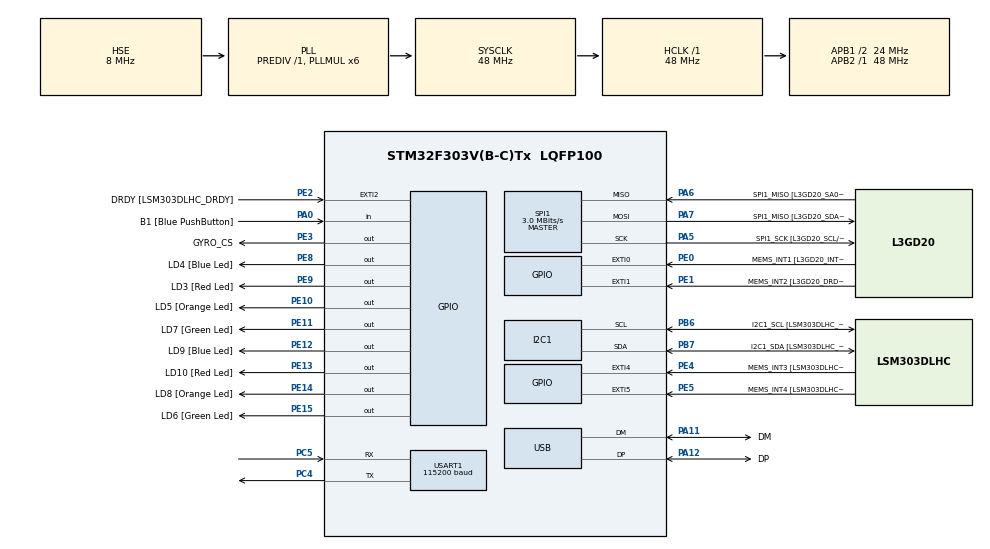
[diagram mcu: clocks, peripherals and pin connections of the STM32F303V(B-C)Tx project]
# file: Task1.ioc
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I2C1.Timing=0x00201D2B
I2C1.Timing-I2C=0x2000090E
Mcu.Family=STM32F3
Mcu.Name=STM32F303V(B-C)Tx
Mcu.Package=LQFP100
NVIC.PriorityGroup=NVIC_PRIORITYGROUP_0
NVIC.TIM2_IRQn=true\:0\:0\:false\:false\:true\:true\:true\:true
NVIC.TIM4_IRQn=true\:0\:0\:false\:false\:true\:true\:true\:true
NVIC.USB_LP_CAN_RX0_IRQn=true\:0\:0\:false\:false\:true\:false\:true\:true
PA0.GPIO_Label=B1 [Blue PushButton]
PA0.Signal=GPIO_Input
PA11.GPIO_Label=DM
PA11.Mode=Device
PA11.Signal=USB_DM
PA12.GPIO_Label=DP
PA12.Mode=Device
PA12.Signal=USB_DP
PA13.GPIO_Label=SWDIO
PA13.Mode=Serial_Wire
PA13.Signal=SYS_JTMS-SWDIO
PA14.GPIO_Label=SWCLK
PA14.Mode=Serial_Wire
PA14.Signal=SYS_JTCK-SWCLK
PA5.GPIO_Label=SPI1_SCK [L3GD20_SCL/SPC]
PA5.Mode=Full_Duplex_Master
PA5.Signal=SPI1_SCK
PA6.GPIO_Label=SPI1_MISO [L3GD20_SA0/SDO]
PA6.Mode=Full_Duplex_Master
PA6.Signal=SPI1_MISO
PA7.GPIO_Label=SPI1_MISO [L3GD20_SDA/SDI/SDO]
PA7.Mode=Full_Duplex_Master
PA7.Signal=SPI1_MOSI
PB3.GPIO_Label=SWO
PB3.Signal=SYS_JTDO-TRACESWO
PB6.GPIO_Label=I2C1_SCL [LSM303DLHC_SCL]
PB6.GPIO_Pu=GPIO_PULLUP
PB6.Mode=I2C
PB6.Signal=I2C1_SCL
PB7.GPIO_Label=I2C1_SDA [LSM303DLHC_SDA]
PB7.GPIO_Pu=GPIO_PULLUP
PB7.Mode=I2C
PB7.Signal=I2C1_SDA
PC14-OSC32_IN.GPIO_Label=OSC32_IN
PC14-OSC32_IN.Signal=RCC_OSC32_IN
PC15-OSC32_OUT.GPIO_Label=OSC32_OUT
PC15-OSC32_OUT.Signal=RCC_OSC32_OUT
PC4.Mode=Asynchronous
PC4.Signal=USART1_TX
PC5.Mode=Asynchronous
PC5.Signal=USART1_RX
PE0.GPIO_Label=MEMS_INT1 [L3GD20_INT1]
PE0.GPIO_ModeDefaultEXTI=GPIO_MODE_EVT_RISING
PE0.Signal=GPXTI0
PE1.GPIO_Label=MEMS_INT2 [L3GD20_DRDY/INT2]
PE1.GPIO_ModeDefaultEXTI=GPIO_MODE_EVT_RISING
PE1.Signal=GPXTI1
PE10.GPIO_Label=LD5 [Orange Led]
PE10.Signal=GPIO_Output
PE11.GPIO_Label=LD7 [Green Led]
PE11.Signal=GPIO_Output
PE12.GPIO_Label=LD9 [Blue Led]
PE12.Signal=GPIO_Output
PE13.GPIO_Label=LD10 [Red Led]
PE13.Signal=GPIO_Output
PE14.GPIO_Label=LD8 [Orange Led]
PE14.Signal=GPIO_Output
PE15.GPIO_Label=LD6 [Green Led]
PE15.Signal=GPIO_Output
PE2.GPIO_Label=DRDY [LSM303DLHC_DRDY]
PE2.GPIO_ModeDefaultEXTI=GPIO_MODE_EVT_RISING
PE2.Signal=GPXTI2
PE3.GPIO_Label=GYRO_CS
PE3.Signal=GPIO_Output
PE4.GPIO_Label=MEMS_INT3 [LSM303DLHC_INT1]
PE4.GPIO_ModeDefaultEXTI=GPIO_MODE_EVT_RISING
PE4.Signal=GPXTI4
PE5.GPIO_Label=MEMS_INT4 [LSM303DLHC_INT2]
PE5.GPIO_ModeDefaultEXTI=GPIO_MODE_EVT_RISING
PE5.Signal=GPXTI5
PE8.GPIO_Label=LD4 [Blue Led]
PE8.Signal=GPIO_Output
PE9.GPIO_Label=LD3 [Red Led]
PE9.Signal=GPIO_Output
PF0-OSC_IN.GPIO_Label=OSC_IN
PF0-OSC_IN.Mode=HSE-External-Clock-Source
PF0-OSC_IN.Signal=RCC_OSC_IN
PF1-OSC_OUT.GPIO_Label=OSC_OUT
PF1-OSC_OUT.Signal=RCC_OSC_OUT
ProjectManager.HeapSize=0x200
ProjectManager.StackSize=0x400
ProjectManager.TargetToolchain=CMake
RCC.AHBFreq_Value=48000000
RCC.APB1CLKDivider=RCC_HCLK_DIV2
RCC.APB1Freq_Value=24000000
RCC.APB1TimFreq_Value=48000000
RCC.APB2Freq_Value=48000000
RCC.APB2TimFreq_Value=48000000
RCC.CortexFreq_Value=48000000
RCC.HCLKFreq_Value=48000000
RCC.HSE_VALUE=8000000
RCC.HSI_VALUE=8000000
RCC.LSE_VALUE=32768
RCC.PLLMUL=RCC_PLL_MUL6
RCC.SYSCLKFreq_VALUE=48000000
RCC.SYSCLKSourceVirtual=RCC_SYSCLKSOURCE_PLLCLK
RCC.USBFreq_Value=48000000
SPI1.BaudRatePrescaler=SPI_BAUDRATEPRESCALER_16
SPI1.BaudRatePrescaler-Full_Duplex_Master=SPI_BAUDRATEPRESCALER_2
SPI1.CalculateBaudRate=3.0 MBits/s
SPI1.CalculateBaudRate-Full_Duplex_Master=24.0 MBits/s
SPI1.Direction=SPI_DIRECTION_2LINES
SPI1.Mode=SPI_MODE_MASTER
SPI1.Mode-Full_Duplex_Master=SPI_MODE_MASTER
SPI1.VirtualType=VM_MASTER
TIM2.Period=99
TIM2.Prescaler=7199
TIM4.Period=49
TIM4.Prescaler=7199
USART1.BaudRate=115200
USART1.VirtualMode-Asynchronous=VM_ASYNC
USB_DEVICE.CLASS_NAME_FS=CDC
USB_DEVICE.VirtualMode=Cdc
USB_DEVICE.VirtualModeFS=Cdc_FS
VP_TIM2_VS_ClockSourceINT.Mode=Internal
VP_TIM4_VS_ClockSourceINT.Mode=Internal
VP_USB_DEVICE_VS_USB_DEVICE_CDC_FS.Mode=CDC_FS
board=STM32F3DISCOVERY

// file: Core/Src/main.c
/* USER CODE BEGIN Header */
/**
  ******************************************************************************
  * @file           : main.c
  * @brief          : Main program body
  ******************************************************************************
  * @attention
  *
  * Copyright (c) 2026 STMicroelectronics.
  * All rights reserved.
  *
  * This software is licensed under terms that can be found in the LICENSE file
  * in the root directory of this software component.
  * If no LICENSE file comes with this software, it is provided AS-IS.
  *
  ******************************************************************************
  */
/* USER CODE END Header */
#include "main.h"
//#include "usb_device.h"

/* USER CODE BEGIN Includes */
#include <stdio.h>
#include <stdint.h>
#include <math.h>
/* USER CODE END Includes */

/* USER CODE BEGIN PTD */
typedef struct {
  int16_t raw_x; int16_t raw_y; int16_t raw_z;
  float scaled_x; float scaled_y; float scaled_z;
  float offset_x; float offset_y; float offset_z;

  int16_t gyro_raw_x; int16_t gyro_raw_y; int16_t gyro_raw_z;
  float gyro_scaled_x; float gyro_scaled_y; float gyro_scaled_z;
  float gyro_offset_x; float gyro_offset_y; float gyro_offset_z; // <-- ADD THESE THREE
} LSM_Data;
/* USER CODE END PTD */

/* USER CODE BEGIN PD */
#define LSM_ADDR (0x19 << 1)
#define GYRO_CS_PORT GPIOE
#define GYRO_CS_PIN  GPIO_PIN_3
#define GYRO_CTRL_REG1 0x20
#define GYRO_OUT_X_L   0x28
/* USER CODE END PD */

I2C_HandleTypeDef hi2c1;

SPI_HandleTypeDef hspi1;

TIM_HandleTypeDef htim2;
TIM_HandleTypeDef htim4;

UART_HandleTypeDef huart1;

/* USER CODE BEGIN PV */
LSM_Data acc_data;

// Control Loop Variables (200Hz)
float dt = 0.005f;
volatile uint8_t display_flag = 0;

// Angle Estimation Variables
float tilt_angle = 0.0f;
float acc_angle = 0.0f;

// PID Variables (To be tuned later)
float Kp = 1.0f;
float Ki = 0.0f;
float Kd = 0.0f;

float setpoint = 0.0f;
float integral = 0.0f;
float previous_error = 0.0f;
float pid_output = 0.0f;
/* USER CODE END PV */

void SystemClock_Config(void);
static void MX_GPIO_Init(void);
static void MX_I2C1_Init(void);
static void MX_SPI1_Init(void);
static void MX_USART1_UART_Init(void);
static void MX_TIM2_Init(void);
static void MX_TIM4_Init(void);
/* USER CODE BEGIN PFP */
void LSM_Init(void);
void GYRO_Init(void);
void GYRO_Read(LSM_Data *data);
void LSM_Read(LSM_Data *data);
void LSM_Offset_Calibration(LSM_Data *data);
/* USER CODE END PFP */

/* USER CODE BEGIN 0 */
void Calibrate_Sensors(LSM_Data *data) {
    float sum_acc_x = 0.0f, sum_acc_y = 0.0f, sum_acc_z = 0.0f;
    float sum_gyro_x = 0.0f, sum_gyro_y = 0.0f, sum_gyro_z = 0.0f;

    // Ensure offsets are 0 before we take our base readings
    data->offset_x = 0; data->offset_y = 0; data->offset_z = 0;
    data->gyro_offset_x = 0; data->gyro_offset_y = 0; data->gyro_offset_z = 0;

    for (int i = 0; i < 50; i++) {
        LSM_Read(data);
        GYRO_Read(data);

        sum_acc_x += data->scaled_x;
        sum_acc_y += data->scaled_y;
        sum_acc_z += data->scaled_z;

        sum_gyro_x += data->gyro_scaled_x;
        sum_gyro_y += data->gyro_scaled_y;
        sum_gyro_z += data->gyro_scaled_z;

        HAL_Delay(10);
    }

    // Accelerometer Offsets (Subtracting 1.0g from Z because of gravity)
    data->offset_x = sum_acc_x / 50.0f;
    data->offset_y = sum_acc_y / 50.0f;
    data->offset_z = (sum_acc_z / 50.0f) - 1.0f;

    // Gyroscope Offsets (Should be 0 dps when perfectly still)
    data->gyro_offset_x = sum_gyro_x / 50.0f;
    data->gyro_offset_y = sum_gyro_y / 50.0f;
    data->gyro_offset_z = sum_gyro_z / 50.0f;
}

int _write(int file, char *ptr, int len) {
    HAL_UART_Transmit(&huart1, (uint8_t*)ptr, len, HAL_MAX_DELAY);
    return len;
}
/* USER CODE END 0 */

int main(void)
{

  /* MCU Configuration--------------------------------------------------------*/

  /* Reset of all peripherals, Initializes the Flash interface and the Systick. */
  HAL_Init();

  /* Configure the system clock */
  SystemClock_Config();

  /* Initialize all configured peripherals */
  MX_GPIO_Init();
  MX_I2C1_Init();
  MX_SPI1_Init();
  MX_USART1_UART_Init();
  //MX_USB_DEVICE_Init();
  MX_TIM2_Init();
  MX_TIM4_Init();
  /* USER CODE BEGIN 2 */
  LSM_Init();
  GYRO_Init();

  // CRITICAL FIX: Wait for hardware to fully power on before taking baseline readings!
  HAL_Delay(250);

  // Board MUST be flat and completely still
  Calibrate_Sensors(&acc_data);

  HAL_TIM_Base_Start_IT(&htim4); // Start the 200Hz Timer Interrupt
  /* USER CODE END 2 */

  /* Infinite loop */
  /* USER CODE BEGIN WHILE */
  while (1)
  {
      if (display_flag == 1) {
        display_flag = 0;
        // Print accX, gyroX, angle for sensorplot.py
        printf("%.2f,%.2f,%.2f\r\n", acc_data.scaled_x, acc_data.gyro_scaled_x, tilt_angle);
      }
    /* USER CODE END WHILE */

  }
}

void SystemClock_Config(void)
{
  RCC_OscInitTypeDef RCC_OscInitStruct = {0};
  RCC_ClkInitTypeDef RCC_ClkInitStruct = {0};
  RCC_PeriphCLKInitTypeDef PeriphClkInit = {0};

  /** Initializes the RCC Oscillators according to the specified parameters
  * in the RCC_OscInitTypeDef structure.
  */
  RCC_OscInitStruct.OscillatorType = RCC_OSCILLATORTYPE_HSI|RCC_OSCILLATORTYPE_HSE;
  RCC_OscInitStruct.HSEState = RCC_HSE_BYPASS;
  RCC_OscInitStruct.HSEPredivValue = RCC_HSE_PREDIV_DIV1;
  RCC_OscInitStruct.HSIState = RCC_HSI_ON;
  RCC_OscInitStruct.HSICalibrationValue = RCC_HSICALIBRATION_DEFAULT;
  RCC_OscInitStruct.PLL.PLLState = RCC_PLL_ON;
  RCC_OscInitStruct.PLL.PLLSource = RCC_PLLSOURCE_HSE;
  RCC_OscInitStruct.PLL.PLLMUL = RCC_PLL_MUL6;
  if (HAL_RCC_OscConfig(&RCC_OscInitStruct) != HAL_OK)
  {
    Error_Handler();
  }

  /** Initializes the CPU, AHB and APB buses clocks
  */
  RCC_ClkInitStruct.ClockType = RCC_CLOCKTYPE_HCLK|RCC_CLOCKTYPE_SYSCLK
                              |RCC_CLOCKTYPE_PCLK1|RCC_CLOCKTYPE_PCLK2;
  RCC_ClkInitStruct.SYSCLKSource = RCC_SYSCLKSOURCE_PLLCLK;
  RCC_ClkInitStruct.AHBCLKDivider = RCC_SYSCLK_DIV1;
  RCC_ClkInitStruct.APB1CLKDivider = RCC_HCLK_DIV2;
  RCC_ClkInitStruct.APB2CLKDivider = RCC_HCLK_DIV1;

  if (HAL_RCC_ClockConfig(&RCC_ClkInitStruct, FLASH_LATENCY_1) != HAL_OK)
  {
    Error_Handler();
  }
  PeriphClkInit.PeriphClockSelection = RCC_PERIPHCLK_USB|RCC_PERIPHCLK_USART1
                              |RCC_PERIPHCLK_I2C1;
  PeriphClkInit.Usart1ClockSelection = RCC_USART1CLKSOURCE_PCLK2;
  PeriphClkInit.I2c1ClockSelection = RCC_I2C1CLKSOURCE_HSI;
  PeriphClkInit.USBClockSelection = RCC_USBCLKSOURCE_PLL;
  if (HAL_RCCEx_PeriphCLKConfig(&PeriphClkInit) != HAL_OK)
  {
    Error_Handler();
  }
}

static void MX_I2C1_Init(void)
{

  hi2c1.Instance = I2C1;
  hi2c1.Init.Timing = 0x00201D2B;
  hi2c1.Init.OwnAddress1 = 0;
  hi2c1.Init.AddressingMode = I2C_ADDRESSINGMODE_7BIT;
  hi2c1.Init.DualAddressMode = I2C_DUALADDRESS_DISABLE;
  hi2c1.Init.OwnAddress2 = 0;
  hi2c1.Init.OwnAddress2Masks = I2C_OA2_NOMASK;
  hi2c1.Init.GeneralCallMode = I2C_GENERALCALL_DISABLE;
  hi2c1.Init.NoStretchMode = I2C_NOSTRETCH_DISABLE;
  if (HAL_I2C_Init(&hi2c1) != HAL_OK)
  {
    Error_Handler();
  }

  /** Configure Analogue filter
  */
  if (HAL_I2CEx_ConfigAnalogFilter(&hi2c1, I2C_ANALOGFILTER_ENABLE) != HAL_OK)
  {
    Error_Handler();
  }

  /** Configure Digital filter
  */
  if (HAL_I2CEx_ConfigDigitalFilter(&hi2c1, 0) != HAL_OK)
  {
    Error_Handler();
  }

}

static void MX_SPI1_Init(void)
{

  /* SPI1 parameter configuration*/
  hspi1.Instance = SPI1;
  hspi1.Init.Mode = SPI_MODE_MASTER;
  hspi1.Init.Direction = SPI_DIRECTION_2LINES;
  hspi1.Init.DataSize = SPI_DATASIZE_8BIT;
  hspi1.Init.CLKPolarity = SPI_POLARITY_LOW;
  hspi1.Init.CLKPhase = SPI_PHASE_1EDGE;
  hspi1.Init.NSS = SPI_NSS_SOFT;
  hspi1.Init.BaudRatePrescaler = SPI_BAUDRATEPRESCALER_16;
  hspi1.Init.FirstBit = SPI_FIRSTBIT_MSB;
  hspi1.Init.TIMode = SPI_TIMODE_DISABLE;
  hspi1.Init.CRCCalculation = SPI_CRCCALCULATION_DISABLE;
  hspi1.Init.CRCPolynomial = 7;
  hspi1.Init.CRCLength = SPI_CRC_LENGTH_DATASIZE;
  hspi1.Init.NSSPMode = SPI_NSS_PULSE_ENABLE;
  if (HAL_SPI_Init(&hspi1) != HAL_OK)
  {
    Error_Handler();
  }

}

static void MX_TIM2_Init(void)
{

  TIM_ClockConfigTypeDef sClockSourceConfig = {0};
  TIM_MasterConfigTypeDef sMasterConfig = {0};

  htim2.Instance = TIM2;
  htim2.Init.Prescaler = 7199;
  htim2.Init.CounterMode = TIM_COUNTERMODE_UP;
  htim2.Init.Period = 99;
  htim2.Init.ClockDivision = TIM_CLOCKDIVISION_DIV1;
  htim2.Init.AutoReloadPreload = TIM_AUTORELOAD_PRELOAD_DISABLE;
  if (HAL_TIM_Base_Init(&htim2) != HAL_OK)
  {
    Error_Handler();
  }
  sClockSourceConfig.ClockSource = TIM_CLOCKSOURCE_INTERNAL;
  if (HAL_TIM_ConfigClockSource(&htim2, &sClockSourceConfig) != HAL_OK)
  {
    Error_Handler();
  }
  sMasterConfig.MasterOutputTrigger = TIM_TRGO_RESET;
  sMasterConfig.MasterSlaveMode = TIM_MASTERSLAVEMODE_DISABLE;
  if (HAL_TIMEx_MasterConfigSynchronization(&htim2, &sMasterConfig) != HAL_OK)
  {
    Error_Handler();
  }

}

static void MX_TIM4_Init(void)
{

  TIM_ClockConfigTypeDef sClockSourceConfig = {0};
  TIM_MasterConfigTypeDef sMasterConfig = {0};

  htim4.Instance = TIM4;
  htim4.Init.Prescaler = 7199;
  htim4.Init.CounterMode = TIM_COUNTERMODE_UP;
  htim4.Init.Period = 49;
  htim4.Init.ClockDivision = TIM_CLOCKDIVISION_DIV1;
  htim4.Init.AutoReloadPreload = TIM_AUTORELOAD_PRELOAD_DISABLE;
  if (HAL_TIM_Base_Init(&htim4) != HAL_OK)
  {
    Error_Handler();
  }
  sClockSourceConfig.ClockSource = TIM_CLOCKSOURCE_INTERNAL;
  if (HAL_TIM_ConfigClockSource(&htim4, &sClockSourceConfig) != HAL_OK)
  {
    Error_Handler();
  }
  sMasterConfig.MasterOutputTrigger = TIM_TRGO_RESET;
  sMasterConfig.MasterSlaveMode = TIM_MASTERSLAVEMODE_DISABLE;
  if (HAL_TIMEx_MasterConfigSynchronization(&htim4, &sMasterConfig) != HAL_OK)
  {
    Error_Handler();
  }

}

static void MX_USART1_UART_Init(void)
{

  huart1.Instance = USART1;
  huart1.Init.BaudRate = 115200;
  huart1.Init.WordLength = UART_WORDLENGTH_8B;
  huart1.Init.StopBits = UART_STOPBITS_1;
  huart1.Init.Parity = UART_PARITY_NONE;
  huart1.Init.Mode = UART_MODE_TX_RX;
  huart1.Init.HwFlowCtl = UART_HWCONTROL_NONE;
  huart1.Init.OverSampling = UART_OVERSAMPLING_16;
  huart1.Init.OneBitSampling = UART_ONE_BIT_SAMPLE_DISABLE;
  huart1.AdvancedInit.AdvFeatureInit = UART_ADVFEATURE_NO_INIT;
  if (HAL_UART_Init(&huart1) != HAL_OK)
  {
    Error_Handler();
  }

}

static void MX_GPIO_Init(void)
{
  GPIO_InitTypeDef GPIO_InitStruct = {0};

  /* GPIO Ports Clock Enable */
  __HAL_RCC_GPIOE_CLK_ENABLE();
  __HAL_RCC_GPIOC_CLK_ENABLE();
  __HAL_RCC_GPIOF_CLK_ENABLE();
  __HAL_RCC_GPIOA_CLK_ENABLE();
  __HAL_RCC_GPIOB_CLK_ENABLE();

  /*Configure GPIO pin Output Level */
  HAL_GPIO_WritePin(GPIOE, GYRO_CS_Pin|LD4_Pin|LD3_Pin|LD5_Pin
                          |LD7_Pin|LD9_Pin|LD10_Pin|LD8_Pin
                          |LD6_Pin, GPIO_PIN_RESET);

  /*Configure GPIO pins : DRDY_Pin MEMS_INT3_Pin MEMS_INT4_Pin MEMS_INT1_Pin
                           MEMS_INT2_Pin */
  GPIO_InitStruct.Pin = DRDY_Pin|MEMS_INT3_Pin|MEMS_INT4_Pin|MEMS_INT1_Pin
                          |MEMS_INT2_Pin;
  GPIO_InitStruct.Mode = GPIO_MODE_EVT_RISING;
  GPIO_InitStruct.Pull = GPIO_NOPULL;
  HAL_GPIO_Init(GPIOE, &GPIO_InitStruct);

  /*Configure GPIO pins : GYRO_CS_Pin LD4_Pin LD3_Pin LD5_Pin
                           LD7_Pin LD9_Pin LD10_Pin LD8_Pin
                           LD6_Pin */
  GPIO_InitStruct.Pin = GYRO_CS_Pin|LD4_Pin|LD3_Pin|LD5_Pin
                          |LD7_Pin|LD9_Pin|LD10_Pin|LD8_Pin
                          |LD6_Pin;
  GPIO_InitStruct.Mode = GPIO_MODE_OUTPUT_PP;
  GPIO_InitStruct.Pull = GPIO_NOPULL;
  GPIO_InitStruct.Speed = GPIO_SPEED_FREQ_LOW;
  HAL_GPIO_Init(GPIOE, &GPIO_InitStruct);

  /*Configure GPIO pin : B1_Pin */
  GPIO_InitStruct.Pin = B1_Pin;
  GPIO_InitStruct.Mode = GPIO_MODE_INPUT;
  GPIO_InitStruct.Pull = GPIO_NOPULL;
  HAL_GPIO_Init(B1_GPIO_Port, &GPIO_InitStruct);

}

/* USER CODE BEGIN 4 */
void LSM_Init(void) {
    uint8_t data = 0x57; // 100Hz, enable X Y Z
    HAL_I2C_Mem_Write(&hi2c1, LSM_ADDR, 0x20, I2C_MEMADD_SIZE_8BIT, &data, 1, HAL_MAX_DELAY);
    data = 0x88; // ±2g, BDU=1, HR=1
    HAL_I2C_Mem_Write(&hi2c1, LSM_ADDR, 0x23, I2C_MEMADD_SIZE_8BIT, &data, 1, HAL_MAX_DELAY);
}

void GYRO_Init(void) {
    uint8_t data[2] = {GYRO_CTRL_REG1, 0x0F}; // Power on, enable X Y Z, 95Hz
    HAL_GPIO_WritePin(GYRO_CS_PORT, GYRO_CS_PIN, GPIO_PIN_RESET);
    HAL_SPI_Transmit(&hspi1, data, 2, HAL_MAX_DELAY);
    HAL_GPIO_WritePin(GYRO_CS_PORT, GYRO_CS_PIN, GPIO_PIN_SET);
}

void LSM_Read(LSM_Data *data) {
    uint8_t rawData[6];
    HAL_I2C_Mem_Read(&hi2c1, LSM_ADDR, 0x28 | 0x80, I2C_MEMADD_SIZE_8BIT, rawData, 6, HAL_MAX_DELAY);

    data->raw_x = (int16_t)((rawData[1] << 8) | rawData[0]);
    data->raw_y = (int16_t)((rawData[3] << 8) | rawData[2]);
    data->raw_z = (int16_t)((rawData[5] << 8) | rawData[4]);

    data->scaled_x = (data->raw_x / 16000.0f) - data->offset_x;
    data->scaled_y = (data->raw_y / 16000.0f) - data->offset_y;
    data->scaled_z = (data->raw_z / 16000.0f) - data->offset_z;
}

// Add this helper function right above GYRO_Read
uint8_t GYRO_Read_Byte(uint8_t reg) {
    uint8_t tx = 0x80 | reg; // 0x80 is the Read bit
    uint8_t rx = 0;
    HAL_GPIO_WritePin(GYRO_CS_PORT, GYRO_CS_PIN, GPIO_PIN_RESET);
    HAL_SPI_Transmit(&hspi1, &tx, 1, HAL_MAX_DELAY);
    HAL_SPI_Receive(&hspi1, &rx, 1, HAL_MAX_DELAY);
    HAL_GPIO_WritePin(GYRO_CS_PORT, GYRO_CS_PIN, GPIO_PIN_SET);
    return rx;
}

// Replace your old GYRO_Read with this one
void GYRO_Read(LSM_Data *data) {
    // Read registers individually just like Lab 9
    uint8_t xL = GYRO_Read_Byte(0x28);
    uint8_t xH = GYRO_Read_Byte(0x29);
    uint8_t yL = GYRO_Read_Byte(0x2A);
    uint8_t yH = GYRO_Read_Byte(0x2B);
    uint8_t zL = GYRO_Read_Byte(0x2C);
    uint8_t zH = GYRO_Read_Byte(0x2D);

    data->gyro_raw_x = (int16_t)((xH << 8) | xL);
    data->gyro_raw_y = (int16_t)((yH << 8) | yL);
    data->gyro_raw_z = (int16_t)((zH << 8) | zL);

    // Scale and apply the offset
    data->gyro_scaled_x = (data->gyro_raw_x * 0.00875f) - data->gyro_offset_x;
    data->gyro_scaled_y = (data->gyro_raw_y * 0.00875f) - data->gyro_offset_y;
    data->gyro_scaled_z = (data->gyro_raw_z * 0.00875f) - data->gyro_offset_z;
}

void HAL_TIM_PeriodElapsedCallback(TIM_HandleTypeDef *htim) {
    if (htim->Instance == TIM4) {
      static int counter = 0;

      // 1. Read Sensors
      LSM_Read(&acc_data);
      GYRO_Read(&acc_data);

      // 2. Angle Estimation (Complementary Filter)
      acc_angle = atan2f(acc_data.scaled_x, acc_data.scaled_z) * (180.0f / 3.14159f);
      tilt_angle = 0.98f * (tilt_angle + (acc_data.gyro_scaled_x * dt)) + 0.02f * acc_angle;

      // 3. PID Controller Math
      float error = setpoint - tilt_angle;
      float P = Kp * error;
      integral += error * dt;
      float I = Ki * integral;
      float derivative = (error - previous_error) / dt;
      float D = Kd * derivative;

      pid_output = P + I + D;
      previous_error = error;

      // 4. Update display flag for UART (10Hz)
      counter++;
      if (counter >= 20) {
          display_flag = 1;
          counter = 0;
      }
    }
}
/* USER CODE END 4 */

void Error_Handler(void)
{
  __disable_irq();
  while (1)
  {
  }
}
